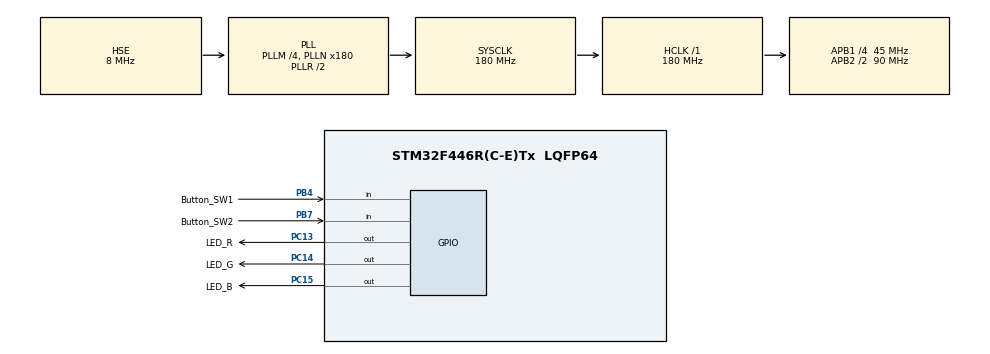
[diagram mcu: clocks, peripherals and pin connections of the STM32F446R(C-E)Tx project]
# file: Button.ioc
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Mcu.Family=STM32F4
Mcu.Name=STM32F446R(C-E)Tx
Mcu.Package=LQFP64
NVIC.PriorityGroup=NVIC_PRIORITYGROUP_4
PA13.Mode=Serial_Wire
PA13.Signal=SYS_JTMS-SWDIO
PA14.Mode=Serial_Wire
PA14.Signal=SYS_JTCK-SWCLK
PB4.GPIO_Label=Button_SW1
PB4.Signal=GPIO_Input
PB7.GPIO_Label=Button_SW2
PB7.GPIO_PuPd=GPIO_NOPULL
PB7.Signal=GPIO_Input
PC13.GPIO_Label=LED_R
PC13.GPIO_ModeDefaultOutputPP=GPIO_MODE_OUTPUT_OD
PC13.GPIO_PuPd=GPIO_NOPULL
PC13.PinState=GPIO_PIN_SET
PC13.Signal=GPIO_Output
PC14-OSC32_IN.GPIO_Label=LED_G
PC14-OSC32_IN.GPIO_ModeDefaultOutputPP=GPIO_MODE_OUTPUT_OD
PC14-OSC32_IN.GPIO_PuPd=GPIO_NOPULL
PC14-OSC32_IN.PinState=GPIO_PIN_SET
PC14-OSC32_IN.Signal=GPIO_Output
PC15-OSC32_OUT.GPIO_Label=LED_B
PC15-OSC32_OUT.GPIO_ModeDefaultOutputPP=GPIO_MODE_OUTPUT_OD
PC15-OSC32_OUT.GPIO_PuPd=GPIO_NOPULL
PC15-OSC32_OUT.PinState=GPIO_PIN_SET
PC15-OSC32_OUT.Signal=GPIO_Output
PH0-OSC_IN.Mode=HSE-External-Oscillator
PH0-OSC_IN.Signal=RCC_OSC_IN
PH1-OSC_OUT.Mode=HSE-External-Oscillator
PH1-OSC_OUT.Signal=RCC_OSC_OUT
ProjectManager.HeapSize=0x200
ProjectManager.StackSize=0x400
ProjectManager.TargetToolchain=Makefile
RCC.AHBFreq_Value=180000000
RCC.APB1CLKDivider=RCC_HCLK_DIV4
RCC.APB1Freq_Value=45000000
RCC.APB1TimFreq_Value=90000000
RCC.APB2CLKDivider=RCC_HCLK_DIV2
RCC.APB2Freq_Value=90000000
RCC.APB2TimFreq_Value=180000000
RCC.CortexFreq_Value=180000000
RCC.HCLKFreq_Value=180000000
RCC.HSE_VALUE=8000000
RCC.PLLM=4
RCC.PLLN=180
RCC.PLLSourceVirtual=RCC_PLLSOURCE_HSE
RCC.SYSCLKFreq_VALUE=180000000
RCC.SYSCLKSource=RCC_SYSCLKSOURCE_PLLRCLK
RCC.USBFreq_Value=180000000
RCC.VCOOutputFreq_Value=360000000
board=custom

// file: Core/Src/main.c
/* USER CODE BEGIN Header */
/**
 ******************************************************************************
 * @file           : main.c
 * @brief          : Main program body
 ******************************************************************************
 * @attention
 *
 * Copyright (c) 2023 STMicroelectronics.
 * All rights reserved.
 *
 * This software is licensed under terms that can be found in the LICENSE file
 * in the root directory of this software component.
 * If no LICENSE file comes with this software, it is provided AS-IS.
 *
 ******************************************************************************
 */
/* USER CODE END Header */
#include "main.h"
#include "gpio.h"

void SystemClock_Config(void);

/* USER CODE BEGIN 0 */

void lighting(uint16_t GPIO_Pin, GPIO_PinState PinState) // 控制 LED
{
  HAL_GPIO_WritePin(GPIOC, GPIO_Pin, !PinState); // 低电平有效，反转控制
}

GPIO_PinState read_button(uint16_t GPIO_Pin) // 读取按钮状态
{
  GPIO_PinState state =
      !HAL_GPIO_ReadPin(GPIOB, GPIO_Pin); // 低电平有效，反转返回值
  HAL_Delay(10);                          // 延时消抖
  return state;
}

/* USER CODE END 0 */

int main(void) {

  /* MCU Configuration--------------------------------------------------------*/

  /* Reset of all peripherals, Initializes the Flash interface and the Systick.
   */
  HAL_Init();

  /* Configure the system clock */
  SystemClock_Config();

  /* Initialize all configured peripherals */
  MX_GPIO_Init();

  /* Infinite loop */
  /* USER CODE BEGIN WHILE */
  while (1) {
    lighting(LED_R_Pin, !read_button(Button_SW1_Pin) &&
                            read_button(Button_SW2_Pin)); // SW2 按下时亮红灯
    lighting(LED_G_Pin, read_button(Button_SW1_Pin) &&
                            !read_button(Button_SW2_Pin)); // SW1 按下时亮绿灯
    lighting(LED_B_Pin,
             read_button(Button_SW1_Pin) &&
                 read_button(Button_SW2_Pin)); // SW1 和 SW2 同时按下时亮蓝灯

    /* USER CODE END WHILE */

  }
}

void SystemClock_Config(void) {
  RCC_OscInitTypeDef RCC_OscInitStruct = {0};
  RCC_ClkInitTypeDef RCC_ClkInitStruct = {0};

  /** Configure the main internal regulator output voltage
   */
  __HAL_RCC_PWR_CLK_ENABLE();
  __HAL_PWR_VOLTAGESCALING_CONFIG(PWR_REGULATOR_VOLTAGE_SCALE1);

  /** Initializes the RCC Oscillators according to the specified parameters
   * in the RCC_OscInitTypeDef structure.
   */
  RCC_OscInitStruct.OscillatorType = RCC_OSCILLATORTYPE_HSE;
  RCC_OscInitStruct.HSEState = RCC_HSE_ON;
  RCC_OscInitStruct.PLL.PLLState = RCC_PLL_ON;
  RCC_OscInitStruct.PLL.PLLSource = RCC_PLLSOURCE_HSE;
  RCC_OscInitStruct.PLL.PLLM = 4;
  RCC_OscInitStruct.PLL.PLLN = 180;
  RCC_OscInitStruct.PLL.PLLP = RCC_PLLP_DIV2;
  RCC_OscInitStruct.PLL.PLLQ = 2;
  RCC_OscInitStruct.PLL.PLLR = 2;
  if (HAL_RCC_OscConfig(&RCC_OscInitStruct) != HAL_OK) {
    Error_Handler();
  }

  /** Activate the Over-Drive mode
   */
  if (HAL_PWREx_EnableOverDrive() != HAL_OK) {
    Error_Handler();
  }

  /** Initializes the CPU, AHB and APB buses clocks
   */
  RCC_ClkInitStruct.ClockType = RCC_CLOCKTYPE_HCLK | RCC_CLOCKTYPE_SYSCLK |
                                RCC_CLOCKTYPE_PCLK1 | RCC_CLOCKTYPE_PCLK2;
  RCC_ClkInitStruct.SYSCLKSource = RCC_SYSCLKSOURCE_PLLRCLK;
  RCC_ClkInitStruct.AHBCLKDivider = RCC_SYSCLK_DIV1;
  RCC_ClkInitStruct.APB1CLKDivider = RCC_HCLK_DIV4;
  RCC_ClkInitStruct.APB2CLKDivider = RCC_HCLK_DIV2;

  if (HAL_RCC_ClockConfig(&RCC_ClkInitStruct, FLASH_LATENCY_5) != HAL_OK) {
    Error_Handler();
  }
}

void Error_Handler(void) {
  __disable_irq();
  while (1) {
  }
}

#ifdef USE_FULL_ASSERT
/**
 * @brief  Reports the name of the source file and the source line number
 *         where the assert_param error has occurred.
 * @param  file: pointer to the source file name
 * @param  line: assert_param error line source number
 * @retval None
 */
void assert_failed(uint8_t *file, uint32_t line) {
  /* USER CODE BEGIN 6 */
  /* User can add his own implementation to report the file name and line
     number, ex: printf("Wrong parameters value: file %s on line %d\r\n", file,
     line) */
  /* USER CODE END 6 */
}
#endif /* USE_FULL_ASSERT */
